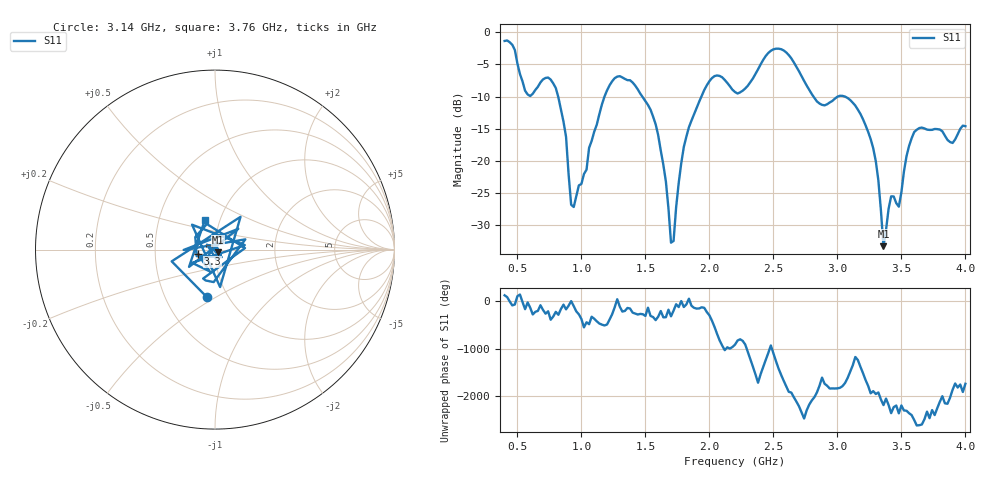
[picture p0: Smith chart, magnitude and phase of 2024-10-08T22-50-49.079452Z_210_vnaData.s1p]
! Created with skrf (http://scikit-rf.org).
# Hz S RI R 50.0
!freq ReS11 ImS11
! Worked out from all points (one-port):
!   181 points, 400 MHz to 4 GHz, reference 50 ohm
!   lowest |S11| = -33.3 dB at 3.36 GHz (marker M1), VSWR 1.04, Z = 51.6 - j1.45 ohm
!   |S11| at or under -10 dB: 818.3 MHz to 1.18 GHz (362.1 MHz wide, 36.2 % of centre); 1.476 GHz to 1.938 GHz (461.8 MHz wide, 27.1 % of centre); 3.059 GHz to end of sweep (the widest 3 of 4)
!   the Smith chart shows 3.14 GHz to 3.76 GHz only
!   S11 on the Smith chart (normalised r, x): 3.14 GHz: 0.80, -0.46; 3.3 GHz: 0.82, -0.04; 3.76 GHz: 0.85, +0.29
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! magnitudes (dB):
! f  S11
! 400 MHz  -1.3
! 580 MHz  -9.7
! 760 MHz  -7.4
! 860 MHz  -13.9
! 920 MHz  -26.9
! 940 MHz  -27.2
! 1.18 GHz  -10.0
! 1.3 GHz  -6.8
! 1.58 GHz  -14.3
! 1.66 GHz  -23.2
! 1.7 GHz  -32.8
! 1.72 GHz  -32.5
! 1.76 GHz  -23.5
! 1.84 GHz  -14.8
! 1.98 GHz  -8.2
! 2.2 GHz  -9.3
! 2.5 GHz  -2.6
! 2.66 GHz  -4.7
! 2.86 GHz  -11.1
! 3.1 GHz  -10.5
! 3.14 GHz  -11.4
! 3.3 GHz  -20.1
! 3.36 GHz  -33.3
! 3.42 GHz  -25.6
! 3.48 GHz  -27.2
! 3.56 GHz  -17.7
! 3.76 GHz  -15.1
! 4 GHz  -14.6
